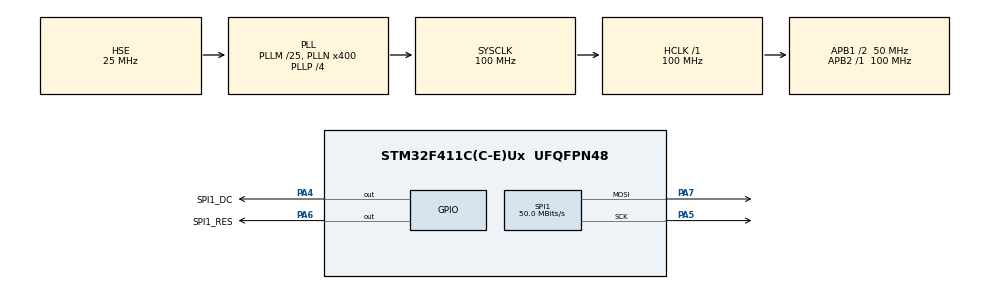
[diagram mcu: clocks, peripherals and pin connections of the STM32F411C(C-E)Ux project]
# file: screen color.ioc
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Mcu.Family=STM32F4
Mcu.Name=STM32F411C(C-E)Ux
Mcu.Package=UFQFPN48
NVIC.PriorityGroup=NVIC_PRIORITYGROUP_4
PA4.GPIO_Label=SPI1_DC
PA4.Signal=GPIO_Output
PA5.Mode=TX_Only_Simplex_Unidirect_Master
PA5.Signal=SPI1_SCK
PA6.GPIO_Label=SPI1_RES
PA6.GPIO_PuPd=GPIO_PULLUP
PA6.PinState=GPIO_PIN_SET
PA6.Signal=GPIO_Output
PA7.Mode=TX_Only_Simplex_Unidirect_Master
PA7.Signal=SPI1_MOSI
PH0\ -\ OSC_IN.Mode=HSE-External-Oscillator
PH0\ -\ OSC_IN.Signal=RCC_OSC_IN
PH1\ -\ OSC_OUT.Mode=HSE-External-Oscillator
PH1\ -\ OSC_OUT.Signal=RCC_OSC_OUT
ProjectManager.HeapSize=0x200
ProjectManager.StackSize=0x400
ProjectManager.TargetToolchain=STM32CubeIDE
RCC.48MHZClocksFreq_Value=100000000
RCC.AHBFreq_Value=100000000
RCC.APB1CLKDivider=RCC_HCLK_DIV2
RCC.APB1Freq_Value=50000000
RCC.APB1TimFreq_Value=100000000
RCC.APB2Freq_Value=100000000
RCC.APB2TimFreq_Value=100000000
RCC.CortexFreq_Value=100000000
RCC.HCLKFreq_Value=100000000
RCC.HSE_VALUE=25000000
RCC.HSI_VALUE=16000000
RCC.LSE_VALUE=32768
RCC.PLLM=25
RCC.PLLN=400
RCC.PLLP=RCC_PLLP_DIV4
RCC.PLLSourceVirtual=RCC_PLLSOURCE_HSE
RCC.SYSCLKFreq_VALUE=100000000
RCC.SYSCLKSource=RCC_SYSCLKSOURCE_PLLCLK
RCC.VCOOutputFreq_Value=400000000
SPI1.BaudRatePrescaler=SPI_BAUDRATEPRESCALER_2
SPI1.CLKPhase=SPI_PHASE_2EDGE
SPI1.CLKPolarity=SPI_POLARITY_HIGH
SPI1.CalculateBaudRate=50.0 MBits/s
SPI1.Direction=SPI_DIRECTION_2LINES
SPI1.Mode=SPI_MODE_MASTER
SPI1.VirtualType=VM_MASTER
board=custom

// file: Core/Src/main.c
/* USER CODE BEGIN Header */
/**
  ******************************************************************************
  * @file           : main.c
  * @brief          : Main program body
  ******************************************************************************
  * @attention
  *
  * Copyright (c) 2026 STMicroelectronics.
  * All rights reserved.
  *
  * This software is licensed under terms that can be found in the LICENSE file
  * in the root directory of this software component.
  * If no LICENSE file comes with this software, it is provided AS-IS.
  *
  ******************************************************************************
  */
/* USER CODE END Header */
#include "main.h"

/* USER CODE BEGIN PD */

#define COLOR_BLACK 0x2124 // Фон
#define COLOR_WHITE 0xEF7D // Текст

#define SCREEN_WIDTH 240
#define SCREEN_HEIGHT 240

/* USER CODE END PD */

SPI_HandleTypeDef hspi1;

/* USER CODE BEGIN PV */

// Битовая матрица стандартного шрифта 8x16 (ASCII символы от ' ' до '~')
// Каждый байт — это одна строка символа шириной 8 пикселей. 1 - белый, 0 - черный.
const uint8_t font8x16[][16] = {
    // Здесь обычно находится весь массив ASCII. Ниже приведены только нужные нам символы для экономии места:
    ['H'] = {0x82, 0x82, 0x82, 0x82, 0x82, 0xFE, 0x82, 0x82, 0x82, 0x82, 0x82, 0x82, 0x82, 0x00, 0x00, 0x00},
    ['e'] = {0x00, 0x00, 0x00, 0x00, 0x00, 0x7C, 0x82, 0xFE, 0x80, 0x80, 0x82, 0x7C, 0x00, 0x00, 0x00, 0x00},
    ['l'] = {0x30, 0x10, 0x10, 0x10, 0x10, 0x10, 0x10, 0x10, 0x10, 0x10, 0x10, 0x18, 0x00, 0x00, 0x00, 0x00},
    ['o'] = {0x00, 0x00, 0x00, 0x00, 0x00, 0x7C, 0x82, 0x82, 0x82, 0x82, 0x82, 0x7C, 0x00, 0x00, 0x00, 0x00},
    [','] = {0x00, 0x00, 0x00, 0x00, 0x00, 0x00, 0x00, 0x00, 0x00, 0x00, 0x30, 0x30, 0x10, 0x20, 0x00, 0x00},
    [' '] = {0x00, 0x00, 0x00, 0x00, 0x00, 0x00, 0x00, 0x00, 0x00, 0x00, 0x00, 0x00, 0x00, 0x00, 0x00, 0x00},
    ['w'] = {0x00, 0x00, 0x00, 0x00, 0x00, 0x82, 0x82, 0x82, 0x92, 0x92, 0x92, 0x6C, 0x00, 0x00, 0x00, 0x00},
    ['r'] = {0x00, 0x00, 0x00, 0x00, 0x00, 0x9E, 0x62, 0x40, 0x40, 0x40, 0x40, 0xE0, 0x00, 0x00, 0x00, 0x00},
    ['d'] = {0x02, 0x02, 0x02, 0x7E, 0x82, 0x82, 0x82, 0x82, 0x82, 0x82, 0x86, 0x7A, 0x00, 0x00, 0x00, 0x00},
    ['!'] = {0x10, 0x10, 0x10, 0x10, 0x10, 0x10, 0x10, 0x10, 0x00, 0x00, 0x10, 0x10, 0x00, 0x00, 0x00, 0x00}
};

/* USER CODE END PV */

void SystemClock_Config(void);
static void MX_GPIO_Init(void);
static void MX_SPI1_Init(void);

/* USER CODE BEGIN 0 */

// 1. Низкоуровневые функции отправки
void ST7789_WriteCommand(uint8_t cmd) {
    HAL_GPIO_WritePin(GPIOA, GPIO_PIN_4, GPIO_PIN_RESET); // DC = 0 (Команда)
    HAL_SPI_Transmit(&hspi1, &cmd, 1, HAL_MAX_DELAY);
}

void ST7789_WriteData(uint8_t data) {
    HAL_GPIO_WritePin(GPIOA, GPIO_PIN_4, GPIO_PIN_SET);   // DC = 1 (Данные)
    HAL_SPI_Transmit(&hspi1, &data, 1, HAL_MAX_DELAY);
}

void ST7789_WriteDataBuf(uint8_t *buff, uint16_t buff_size) {
    HAL_GPIO_WritePin(GPIOA, GPIO_PIN_4, GPIO_PIN_SET);   // DC = 1 (Данные)
    HAL_SPI_Transmit(&hspi1, buff, buff_size, HAL_MAX_DELAY);
}

// 2. Инициализация дисплея (Hard Reset + базовые регистры)
void ST7789_Init(void) {
    // Аппаратный сброс (Reset)
    HAL_GPIO_WritePin(GPIOA, GPIO_PIN_6, GPIO_PIN_RESET);
    HAL_Delay(20);
    HAL_GPIO_WritePin(GPIOA, GPIO_PIN_6, GPIO_PIN_SET);
    HAL_Delay(120);

    ST7789_WriteCommand(0x11); // Sleep Out (Выход из спящего режима)
    HAL_Delay(120);

    ST7789_WriteCommand(0x3A); // Interface Pixel Format
    ST7789_WriteData(0x55);    // 16-bit color (RGB565)

    ST7789_WriteCommand(0x36); // Memory Data Access Control (Ориентация)
    ST7789_WriteData(0x00);    // Стандартная ориентация

    // Задаем границы экрана (от 0 до 239)
    ST7789_WriteCommand(0x2A); // Column Address Set
    ST7789_WriteData(0x00); ST7789_WriteData(0x00); // Start X = 0
    ST7789_WriteData(0x00); ST7789_WriteData(SCREEN_WIDTH); // End X = 239

    ST7789_WriteCommand(0x2B); // Row Address Set
    ST7789_WriteData(0x00); ST7789_WriteData(0x00); // Start Y = 0
    ST7789_WriteData(0x00); ST7789_WriteData(SCREEN_HEIGHT); // End Y = 239

    ST7789_WriteCommand(0x21); // Display Inversion On (Обычно китайские IPS требуют инверсию)

    ST7789_WriteCommand(0x29); // Display On (Включение экрана)
    HAL_Delay(20);
}

void ST7789_Rect(uint8_t x, uint8_t y, uint8_t width, uint8_t height, uint16_t color) {
    // Переворачиваем байты цвета, так как SPI отправляет MSB (старший байт) первым
    uint8_t data[2] = { (color >> 8) & 0xFF, color & 0xFF };

    // Устанавливаем окно
    ST7789_WriteCommand(0x2A);
    ST7789_WriteData(0x00); ST7789_WriteData(x);
    ST7789_WriteData(0x00); ST7789_WriteData(x + width);

    ST7789_WriteCommand(0x2B);
    ST7789_WriteData(0x00); ST7789_WriteData(y);
    ST7789_WriteData(0x00); ST7789_WriteData(y + height);

    // Команда начала записи в память RAM дисплея
    ST7789_WriteCommand(0x2C);

    // Заливаем пиксели
    for (uint32_t i = 0; i < width * height; ++i) {
        ST7789_WriteDataBuf(data, 2);
    }
}

// 3. Функция заливки экрана одним цветом
void ST7789_Fill(uint16_t color) {
	ST7789_Rect(0, 0, SCREEN_WIDTH, SCREEN_HEIGHT, color);
}

// Главная функция отрисовки сцены
void drawScene() {
    const char* text = "Hello, world!";
    int textLength = 13; // Количество символов в строке

    // Размеры одного символа в пикселях
    int charWidth = 8;
    int charHeight = 16;

    // Коэффициент масштабирования (увеличим текст в 2 раза, чтобы на 240х240 он не был слишком мелким)
    int scale = 2;

    // Вычисляем общую ширину и высоту текста на экране с учетом масштаба
    int totalTextWidth = textLength * charWidth * scale;
    int totalTextHeight = charHeight * scale;

    // Расчет начальных координат для идеального центра
    int startX = (SCREEN_WIDTH - totalTextWidth) / 2;   // (240 - 208) / 2 = 16
    int startY = (SCREEN_HEIGHT - totalTextHeight) / 2; // (240 - 32) / 2 = 104

    ST7789_Fill(COLOR_BLACK);

    // 2. Посимвольный вывод надписи с масштабированием
    for (int i = 0; i < textLength; i++) {
        char ch = text[i];
        int charStartX = startX + (i * charWidth * scale);

        // Отрисовка символа построчно
        for (int row = 0; row < charHeight; row++) {
            uint8_t b = font8x16[(unsigned char)ch][row];
            for (int col = 0; col < charWidth; col++) {
                uint16_t pixelColor = (b & (0x80 >> col)) ? COLOR_WHITE : COLOR_BLACK;

                if (pixelColor == COLOR_BLACK) {
                	continue;
                }

                // Рисуем увеличенный пиксель (блок пикселей scale x scale)
                for (int sy = 0; sy < scale; sy++) {
                    for (int sx = 0; sx < scale; sx++) {
                    	ST7789_Rect(charStartX + (col * scale) + sx, startY + (row * scale) + sy, 1, 1, pixelColor);
                    }
                }
            }
        }
    }
}

/* USER CODE END 0 */

int main(void)
{

  /* MCU Configuration--------------------------------------------------------*/

  /* Reset of all peripherals, Initializes the Flash interface and the Systick. */
  HAL_Init();

  /* Configure the system clock */
  SystemClock_Config();

  /* Initialize all configured peripherals */
  MX_GPIO_Init();
  MX_SPI1_Init();
  /* USER CODE BEGIN 2 */

  ST7789_Init();

  ST7789_Fill(0x001F);

  HAL_Delay(1500);

  ST7789_Fill(0xF800);
  ST7789_Rect(0x3C, 0x3C, 0x78, 0x78, 0x07E0);

  HAL_Delay(1500);

  drawScene();

  /* USER CODE END 2 */

  /* Infinite loop */
  while (1)
  {

  }
}

void SystemClock_Config(void)
{
  RCC_OscInitTypeDef RCC_OscInitStruct = {0};
  RCC_ClkInitTypeDef RCC_ClkInitStruct = {0};

  /** Configure the main internal regulator output voltage
  */
  __HAL_RCC_PWR_CLK_ENABLE();
  __HAL_PWR_VOLTAGESCALING_CONFIG(PWR_REGULATOR_VOLTAGE_SCALE1);

  /** Initializes the RCC Oscillators according to the specified parameters
  * in the RCC_OscInitTypeDef structure.
  */
  RCC_OscInitStruct.OscillatorType = RCC_OSCILLATORTYPE_HSE;
  RCC_OscInitStruct.HSEState = RCC_HSE_ON;
  RCC_OscInitStruct.PLL.PLLState = RCC_PLL_ON;
  RCC_OscInitStruct.PLL.PLLSource = RCC_PLLSOURCE_HSE;
  RCC_OscInitStruct.PLL.PLLM = 25;
  RCC_OscInitStruct.PLL.PLLN = 400;
  RCC_OscInitStruct.PLL.PLLP = RCC_PLLP_DIV4;
  RCC_OscInitStruct.PLL.PLLQ = 4;
  if (HAL_RCC_OscConfig(&RCC_OscInitStruct) != HAL_OK)
  {
    Error_Handler();
  }

  /** Initializes the CPU, AHB and APB buses clocks
  */
  RCC_ClkInitStruct.ClockType = RCC_CLOCKTYPE_HCLK|RCC_CLOCKTYPE_SYSCLK
                              |RCC_CLOCKTYPE_PCLK1|RCC_CLOCKTYPE_PCLK2;
  RCC_ClkInitStruct.SYSCLKSource = RCC_SYSCLKSOURCE_PLLCLK;
  RCC_ClkInitStruct.AHBCLKDivider = RCC_SYSCLK_DIV1;
  RCC_ClkInitStruct.APB1CLKDivider = RCC_HCLK_DIV2;
  RCC_ClkInitStruct.APB2CLKDivider = RCC_HCLK_DIV1;

  if (HAL_RCC_ClockConfig(&RCC_ClkInitStruct, FLASH_LATENCY_3) != HAL_OK)
  {
    Error_Handler();
  }
}

static void MX_SPI1_Init(void)
{

  /* SPI1 parameter configuration*/
  hspi1.Instance = SPI1;
  hspi1.Init.Mode = SPI_MODE_MASTER;
  hspi1.Init.Direction = SPI_DIRECTION_2LINES;
  hspi1.Init.DataSize = SPI_DATASIZE_8BIT;
  hspi1.Init.CLKPolarity = SPI_POLARITY_HIGH;
  hspi1.Init.CLKPhase = SPI_PHASE_2EDGE;
  hspi1.Init.NSS = SPI_NSS_SOFT;
  hspi1.Init.BaudRatePrescaler = SPI_BAUDRATEPRESCALER_2;
  hspi1.Init.FirstBit = SPI_FIRSTBIT_MSB;
  hspi1.Init.TIMode = SPI_TIMODE_DISABLE;
  hspi1.Init.CRCCalculation = SPI_CRCCALCULATION_DISABLE;
  hspi1.Init.CRCPolynomial = 10;
  if (HAL_SPI_Init(&hspi1) != HAL_OK)
  {
    Error_Handler();
  }

}

static void MX_GPIO_Init(void)
{
  GPIO_InitTypeDef GPIO_InitStruct = {0};

  /* GPIO Ports Clock Enable */
  __HAL_RCC_GPIOH_CLK_ENABLE();
  __HAL_RCC_GPIOA_CLK_ENABLE();

  /*Configure GPIO pin Output Level */
  HAL_GPIO_WritePin(SPI1_DC_GPIO_Port, SPI1_DC_Pin, GPIO_PIN_RESET);

  /*Configure GPIO pin Output Level */
  HAL_GPIO_WritePin(SPI1_RES_GPIO_Port, SPI1_RES_Pin, GPIO_PIN_SET);

  /*Configure GPIO pin : SPI1_DC_Pin */
  GPIO_InitStruct.Pin = SPI1_DC_Pin;
  GPIO_InitStruct.Mode = GPIO_MODE_OUTPUT_PP;
  GPIO_InitStruct.Pull = GPIO_NOPULL;
  GPIO_InitStruct.Speed = GPIO_SPEED_FREQ_LOW;
  HAL_GPIO_Init(SPI1_DC_GPIO_Port, &GPIO_InitStruct);

  /*Configure GPIO pin : SPI1_RES_Pin */
  GPIO_InitStruct.Pin = SPI1_RES_Pin;
  GPIO_InitStruct.Mode = GPIO_MODE_OUTPUT_PP;
  GPIO_InitStruct.Pull = GPIO_PULLUP;
  GPIO_InitStruct.Speed = GPIO_SPEED_FREQ_LOW;
  HAL_GPIO_Init(SPI1_RES_GPIO_Port, &GPIO_InitStruct);

}

void Error_Handler(void)
{
  __disable_irq();
  while (1)
  {
  }
}
